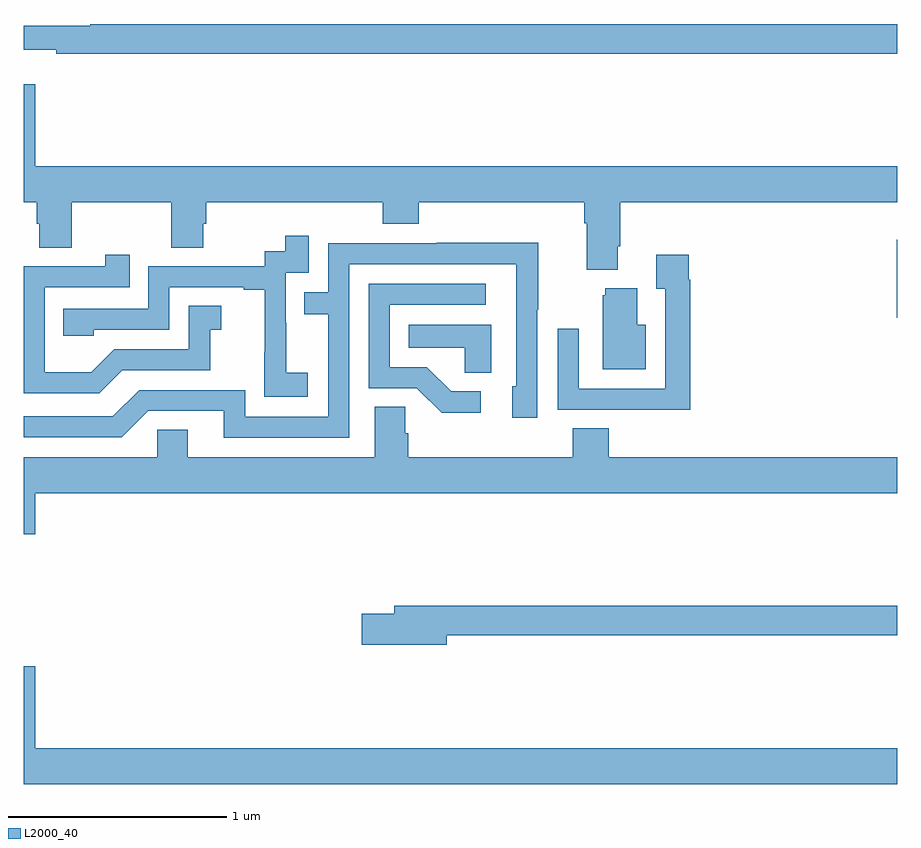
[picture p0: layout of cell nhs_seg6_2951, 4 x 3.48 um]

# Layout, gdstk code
import gdstk
lib = gdstk.Library(unit=1e-6, precision=1e-09)
def R(c, l, rs):  # rectangles x0, y0, x1, y1
    for r in rs: c.add(gdstk.rectangle(r[:2], r[2:], *l))
def P(c, l, *ps):  # polygons
    for p in ps: c.add(gdstk.Polygon(p, *l))
L2000_40 = (2000, 40)

nhs_seg6_2951 = lib.new_cell('nhs_seg6_2951')
R(nhs_seg6_2951, L2000_40, [(288.998,940.146,289,940.504)])
P(nhs_seg6_2951, L2000_40, [(289,941.492),(285.305,941.492),(285.305,941.485),(285,941.485),(285,941.375),(285.148,941.375),(285.148,941.356),(289,941.356)],
  [(287.719,940.474),(287.732,940.474),(287.732,940.676),(289,940.676),(289,940.84),(285.052,940.84),(285.052,941.215),(285,941.215),(285,940.676),(285.059,940.676),(285.059,940.578),(285.071,940.578),(285.071,940.468),(285.219,940.468),(285.219,940.676),(285.676,940.676),(285.676,940.468),(285.823,940.468),(285.823,940.578),(285.836,940.578),(285.836,940.676),(286.643,940.676),(286.643,940.577),(286.808,940.577),(286.808,940.676),(287.567,940.676),(287.567,940.58),(287.579,940.58),(287.579,940.367),(287.719,940.367)],
  [(286.3,939.895),(286.202,939.895),(286.202,940.124),(286.2,940.124),(286.2,940.353),(286.305,940.353),(286.305,940.522),(286.197,940.522),(286.197,940.452),(286.104,940.452),(286.104,940.383),(285.57,940.383),(285.57,940.188),(285.181,940.188),(285.181,940.065),(285.321,940.065),(285.321,940.092),(285.666,940.092),(285.666,940.287),(286.007,940.287),(286.007,940.275),(286.103,940.275),(286.103,939.991),(286.102,939.991),(286.102,939.785),(286.3,939.785)],
  [(286.491,940.392),(287.256,940.392),(287.256,939.834),(287.237,939.834),(287.237,939.69),(287.352,939.69),(287.352,940.183),(287.355,940.183),(287.355,940.49),(286.891,940.49),(286.891,940.488),(286.395,940.488),(286.395,940.263),(286.285,940.263),(286.285,940.162),(286.395,940.162),(286.395,939.693),(286.014,939.693),(286.014,939.816),(285.528,939.816),(285.408,939.696),(285,939.696),(285,939.6),(285.45,939.6),(285.57,939.72),(285.917,939.72),(285.917,939.597),(286.491,939.597)],
  [(285.451,939.906),(285.855,939.906),(285.855,940.091),(285.904,940.091),(285.904,940.201),(285.756,940.201),(285.756,940.002),(285.414,940.002),(285.31,939.898),(285.096,939.898),(285.096,940.287),(285.485,940.287),(285.485,940.435),(285.374,940.435),(285.374,940.383),(285,940.383),(285,939.801),(285.346,939.801)],
  [(288.053,940.322),(288.046,940.322),(288.046,940.435),(287.897,940.435),(287.897,940.279),(287.937,940.279),(287.937,939.822),(287.541,939.822),(287.541,940.096),(287.445,940.096),(287.445,939.726),(287.761,939.726),(287.761,939.725),(288.053,939.725)],
  [(287.092,939.81),(286.957,939.81),(286.846,939.921),(286.677,939.921),(286.677,940.206),(287.116,940.206),(287.116,940.302),(286.581,940.302),(286.581,939.825),(286.8,939.825),(286.913,939.713),(287.092,939.713)],
  [(287.848,940.114),(287.809,940.114),(287.809,940.282),(287.663,940.282),(287.663,940.251),(287.651,940.251),(287.651,939.911),(287.848,939.911)],
  [(287.14,940.114),(286.762,940.114),(286.762,940.01),(287.019,940.01),(287.019,939.895),(287.14,939.895)],
  [(285.052,939.344),(289,939.344),(289,939.508),(287.678,939.508),(287.678,939.641),(287.513,939.641),(287.513,939.508),(286.76,939.508),(286.76,939.617),(286.746,939.617),(286.746,939.74),(286.607,939.74),(286.607,939.508),(285.751,939.508),(285.751,939.635),(285.612,939.635),(285.612,939.508),(285,939.508),(285,939.156),(285.052,939.156)],
  [(286.936,938.692),(289,938.692),(289,938.828),(286.697,938.828),(286.697,938.792),(286.548,938.792),(286.548,938.65),(286.936,938.65)],
  [(289,938.176),(285.052,938.176),(285.052,938.551),(285,938.551),(285,938.012),(289,938.012)])

lib.write_gds('nhs_seg6_2951.gds')
